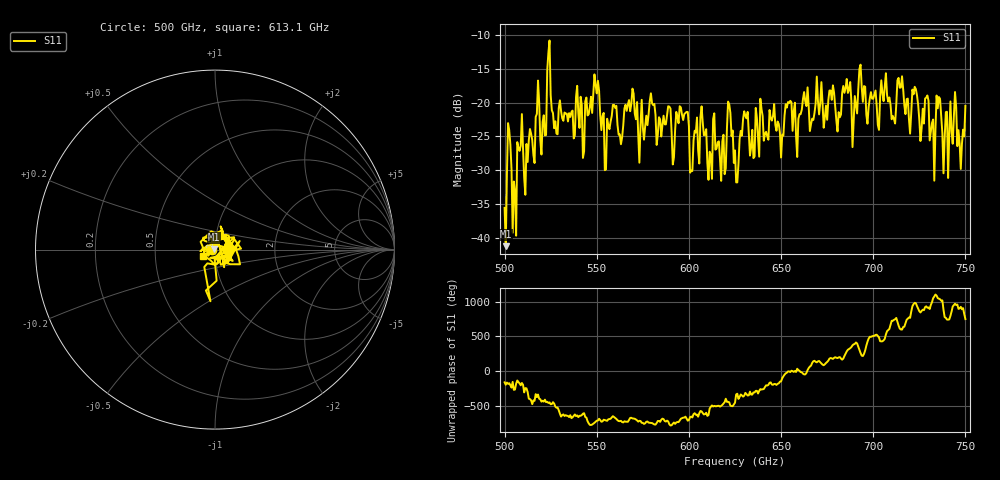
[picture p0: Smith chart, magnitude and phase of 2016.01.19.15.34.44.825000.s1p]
!Created with skrf (http://scikit-rf.org).
# GHz S RI R 50.0
!freq ReS11 ImS11
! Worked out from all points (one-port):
!   401 points, 500 GHz to 750 GHz, reference 50 ohm
!   lowest |S11| = -41.3 dB at 500.6 GHz (marker M1), VSWR 1.02, Z = 49.2 + j0.271 ohm
!   |S11| at or under -10 dB: start of sweep to end of sweep
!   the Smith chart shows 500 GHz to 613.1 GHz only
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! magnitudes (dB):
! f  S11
! 500 GHz  -35.6
! 500.6 GHz  -41.3
! 502.5 GHz  -24.1
! 505 GHz  -31.7
! 508.1 GHz  -27.1
! 521.2 GHz  -21.9
! 524.4 GHz  -10.8
! 527.5 GHz  -22.8
! 531.2 GHz  -22.3
! 541.9 GHz  -20.3
! 550 GHz  -18.6
! 553.8 GHz  -21.5
! 562.5 GHz  -24.7
! 568.8 GHz  -20.2
! 593.8 GHz  -22.0
! 601.9 GHz  -30.1
! 607.5 GHz  -23.0
! 611.2 GHz  -27.3
! 622.5 GHz  -21.5
! 625 GHz  -27.1
! 630.6 GHz  -21.9
! 634.4 GHz  -24.0
! 656.2 GHz  -24.2
! 687.5 GHz  -17.0
! 718.8 GHz  -19.4
! 735.6 GHz  -19.2
! 746.9 GHz  -26.1
! 750 GHz  -20.5
